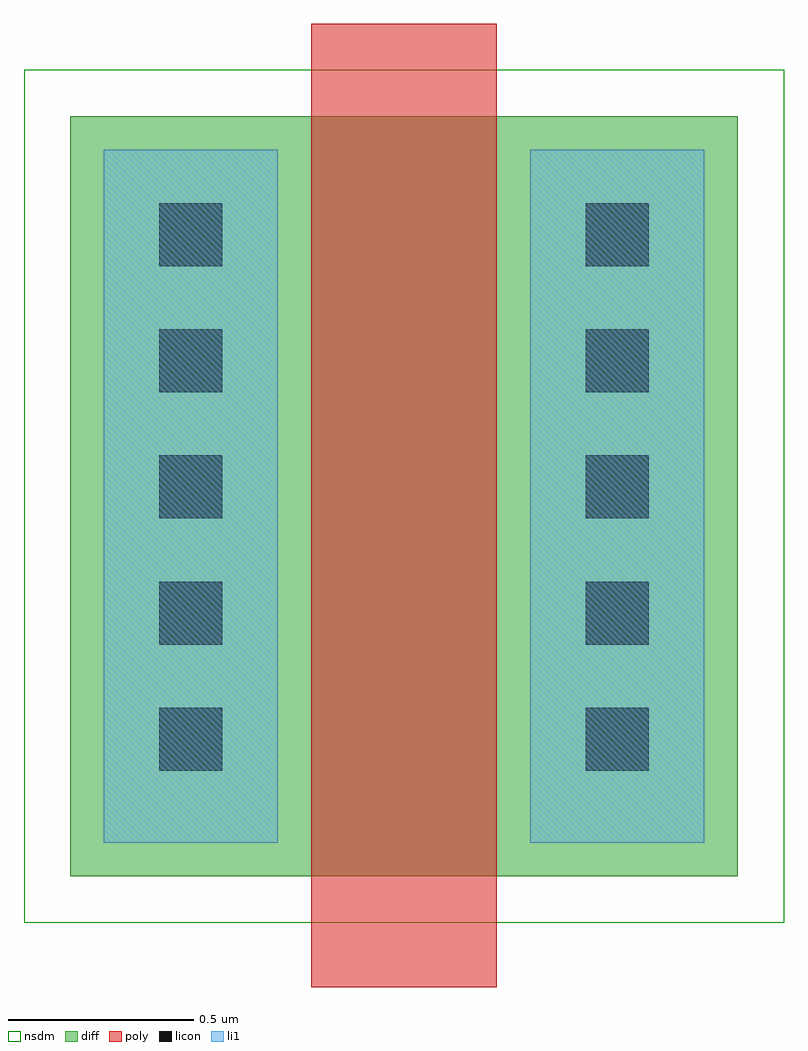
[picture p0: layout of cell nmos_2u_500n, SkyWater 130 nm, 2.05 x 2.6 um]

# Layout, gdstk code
import gdstk
lib = gdstk.Library(unit=1e-6, precision=1e-09)
def R(c, l, rs):  # rectangles x0, y0, x1, y1
    for r in rs: c.add(gdstk.rectangle(r[:2], r[2:], *l))
def A(c, l, x, y, w, h, nx, ny, dx, dy):  # array of equal rectangles
    R(c, l, [(x+i*dx, y+j*dy, x+i*dx+w, y+j*dy+h) for i in range(nx) for j in range(ny)])
diff = (65, 20)
poly = (66, 20)
licon = (66, 44)
li1 = (67, 20)
nsdm = (93, 44)

nmos_2u_500n = lib.new_cell('nmos_2u_500n')
R(nmos_2u_500n, diff, [(0.75,-0.1,2.55,1.95)])
R(nmos_2u_500n, poly, [(1.4,-0.4,1.9,2.2)])
A(nmos_2u_500n, licon, 0.99, 0.185, 0.17, 0.17, 1, 5, 0, 0.34)
A(nmos_2u_500n, licon, 2.14, 0.185, 0.17, 0.17, 1, 5, 0, 0.34)
R(nmos_2u_500n, li1, [(0.84,-0.01,1.31,1.86), (1.99,-0.01,2.46,1.86)])
R(nmos_2u_500n, nsdm, [(0.625,-0.225,2.675,2.075)])

lib.write_gds('nmos_2u_500n.gds')
